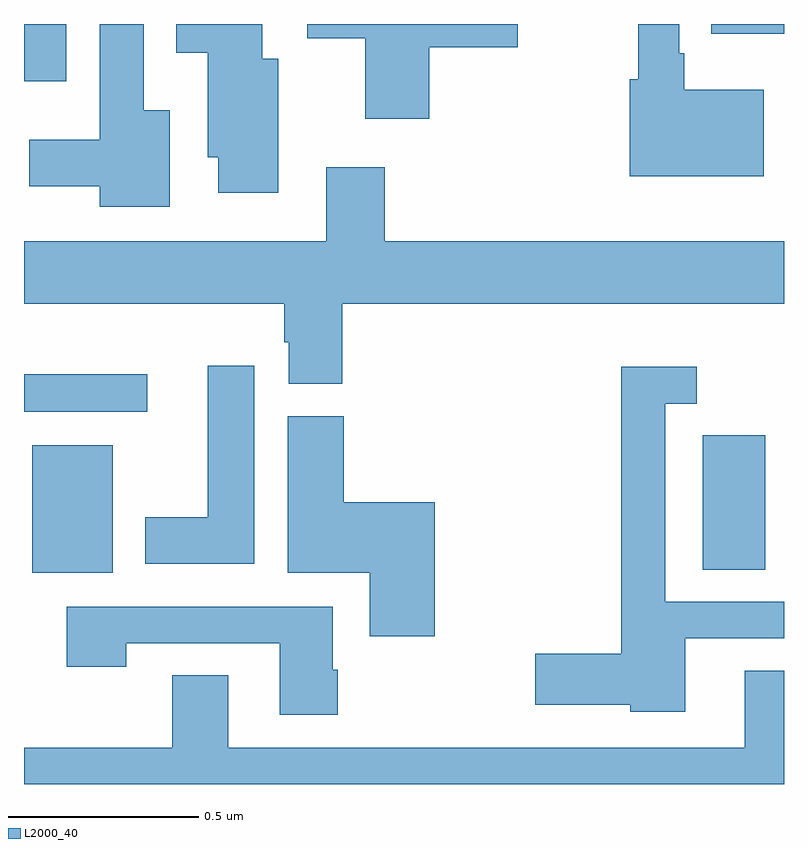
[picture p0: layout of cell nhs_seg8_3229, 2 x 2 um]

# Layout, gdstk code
import gdstk
lib = gdstk.Library(unit=1e-6, precision=1e-09)
def R(c, l, rs):  # rectangles x0, y0, x1, y1
    for r in rs: c.add(gdstk.rectangle(r[:2], r[2:], *l))
def P(c, l, *ps):  # polygons
    for p in ps: c.add(gdstk.Polygon(p, *l))
L2000_40 = (2000, 40)

nhs_seg8_3229 = lib.new_cell('nhs_seg8_3229')
R(nhs_seg8_3229, L2000_40, [(154.022,1118.456,154.234,1118.791), (155.786,1118.464,155.95,1118.818), (154,1118.88,154.324,1118.978), (154,1119.749,154.111,1119.9), (155.809,1119.875,156,1119.9)])
P(nhs_seg8_3229, L2000_40, [(155.066,1119.839),(155.299,1119.839),(155.299,1119.9),(154.746,1119.9),(154.746,1119.862),(154.898,1119.862),(154.898,1119.651),(155.066,1119.651)],
  [(155.947,1119.727),(155.737,1119.727),(155.737,1119.823),(155.724,1119.823),(155.724,1119.9),(155.616,1119.9),(155.616,1119.754),(155.594,1119.754),(155.594,1119.5),(155.947,1119.5)],
  [(154.669,1119.808),(154.627,1119.808),(154.627,1119.9),(154.4,1119.9),(154.4,1119.824),(154.484,1119.824),(154.484,1119.549),(154.511,1119.549),(154.511,1119.456),(154.669,1119.456)],
  [(154.384,1119.673),(154.315,1119.673),(154.315,1119.9),(154.199,1119.9),(154.199,1119.595),(154.014,1119.595),(154.014,1119.473),(154.199,1119.473),(154.199,1119.419),(154.384,1119.419)],
  [(154.838,1119.164),(156,1119.164),(156,1119.328),(154.949,1119.328),(154.949,1119.523),(154.796,1119.523),(154.796,1119.328),(154,1119.328),(154,1119.164),(154.685,1119.164),(154.685,1119.063),(154.697,1119.063),(154.697,1118.953),(154.838,1118.953)],
  [(154.606,1119.001),(154.484,1119.001),(154.484,1118.602),(154.319,1118.602),(154.319,1118.48),(154.606,1118.48)],
  [(155.74,1118.283),(156,1118.283),(156,1118.379),(155.688,1118.379),(155.688,1118.901),(155.77,1118.901),(155.77,1118.998),(155.572,1118.998),(155.572,1118.243),(155.346,1118.243),(155.346,1118.108),(155.595,1118.108),(155.595,1118.09),(155.74,1118.09)],
  [(155.081,1118.641),(154.841,1118.641),(154.841,1118.868),(154.694,1118.868),(154.694,1118.456),(154.91,1118.456),(154.91,1118.289),(155.081,1118.289)],
  [(154.826,1118.201),(154.813,1118.201),(154.813,1118.367),(154.113,1118.367),(154.113,1118.208),(154.269,1118.208),(154.269,1118.271),(154.673,1118.271),(154.673,1118.082),(154.826,1118.082)],
  [(156,1118.198),(155.897,1118.198),(155.897,1117.996),(154.537,1117.996),(154.537,1118.186),(154.39,1118.186),(154.39,1117.996),(154,1117.996),(154,1117.9),(156,1117.9)])

lib.write_gds('nhs_seg8_3229.gds')
